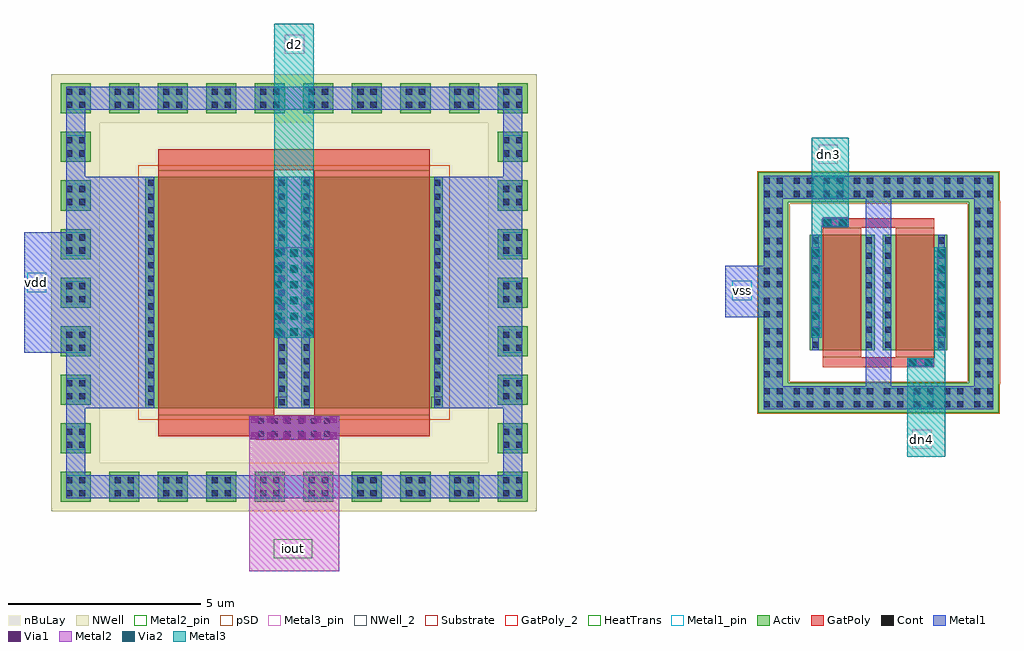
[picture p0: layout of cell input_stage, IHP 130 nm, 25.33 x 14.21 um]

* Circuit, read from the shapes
.subckt input_stage d2 dn3 dn4 iout vdd vss
XM1 vss dn3 dn3 vss sg13_lv_nmos w=3u l=1u
XM2 dn4 dn3 vss vss sg13_lv_nmos w=3u l=1u
XM3 d2 iout vdd vdd sg13_lv_pmos w=6u l=3u m=2
.ends

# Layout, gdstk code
import gdstk
lib = gdstk.Library(unit=1e-6, precision=1e-09)
def R(c, l, rs):  # rectangles x0, y0, x1, y1
    for r in rs: c.add(gdstk.rectangle(r[:2], r[2:], *l))
def A(c, l, x, y, w, h, nx, ny, dx, dy):  # array of equal rectangles
    R(c, l, [(x+i*dx, y+j*dy, x+i*dx+w, y+j*dy+h) for i in range(nx) for j in range(ny)])
Activ = (1, 0)
GatPoly = (5, 0)
GatPoly_2 = (5, 2)
Cont = (6, 0)
Metal1 = (8, 0)
Metal1_pin = (8, 2)
Metal2 = (10, 0)
Metal2_pin = (10, 2)
pSD = (14, 0)
Via1 = (19, 0)
Via2 = (29, 0)
Metal3 = (30, 0)
Metal3_pin = (30, 2)
NWell = (31, 0)
NWell_2 = (31, 2)
nBuLay = (32, 0)
Substrate = (40, 0)
HeatTrans = (51, 0)

nmos = lib.new_cell('nmos')
R(nmos, Activ, [(0,0,0.3,0.3), (0,0,1.68,3), (1.38,0,1.68,0.3)])
R(nmos, GatPoly, [(0.34,-0.18,1.34,3.18)])
R(nmos, GatPoly_2, [(0.34,-0.18,1.34,3.18)])
A(nmos, Cont, 0.07, 0.07, 0.16, 0.16, 1, 7, 0, 0.385)
A(nmos, Cont, 1.45, 0.07, 0.16, 0.16, 1, 7, 0, 0.385)
R(nmos, Cont, [(0.07,2.77,0.23,2.93), (1.45,2.77,1.61,2.93)])
R(nmos, Metal1, [(0.07,0,0.23,3), (1.45,0,1.61,3)])
R(nmos, Metal1_pin, [(0.07,0,0.23,3), (1.45,0,1.61,3)])
R(nmos, HeatTrans, [(0.34,-0.18,1.34,3.18)])
nmos.add(gdstk.Label('nmos', (0.84,1.5), layer=63, texttype=0))
nmos.add(gdstk.Label('nmos', (0.84,1.5), layer=51, texttype=0))

ntap1 = lib.new_cell('ntap1')
R(ntap1, Activ, [(0,0,0.78,0.78)])
R(ntap1, Cont, [(0.14,0.14,0.3,0.3), (0.48,0.14,0.64,0.3), (0.14,0.48,0.3,0.64), (0.48,0.48,0.64,0.64)])
R(ntap1, Metal1, [(0.14,0.09,0.64,0.69)])
R(ntap1, Metal1_pin, [(0.14,0.09,0.64,0.69), (0.14,0.14,0.64,0.64)])
R(ntap1, NWell, [(-0.24,-0.24,1.02,1.02), (0,0,0.78,0.78)])
R(ntap1, NWell_2, [(0,0,0.78,0.78)])
R(ntap1, nBuLay, [(-0.24,-0.24,1.02,1.02)])
ntap1.add(gdstk.Label('well', (0.39,0.01), layer=63, texttype=0))
ntap1.add(gdstk.Label('well', (0.39,0.01), layer=31, texttype=0))

pmos = lib.new_cell('pmos')
R(pmos, Activ, [(0,0,0.3,0.3), (0,0,3.68,6), (3.38,0,3.68,0.3)])
R(pmos, GatPoly, [(0.34,-0.18,3.34,6.18), (0.34,-0.18,3.34,6.18)])
A(pmos, Cont, 0.07, 0.07, 0.16, 0.16, 1, 4, 0, 0.355)
A(pmos, Cont, 3.45, 0.07, 0.16, 0.16, 1, 4, 0, 0.355)
A(pmos, Cont, 0.07, 1.495, 0.16, 0.16, 1, 4, 0, 0.355)
A(pmos, Cont, 3.45, 1.495, 0.16, 0.16, 1, 4, 0, 0.355)
A(pmos, Cont, 0.07, 2.92, 0.16, 0.16, 1, 4, 0, 0.355)
A(pmos, Cont, 3.45, 2.92, 0.16, 0.16, 1, 4, 0, 0.355)
A(pmos, Cont, 0.07, 4.345, 0.16, 0.16, 1, 4, 0, 0.355)
A(pmos, Cont, 3.45, 4.345, 0.16, 0.16, 1, 4, 0, 0.355)
R(pmos, Cont, [(0.07,5.77,0.23,5.93), (3.45,5.77,3.61,5.93)])
R(pmos, Metal1, [(0.07,0,0.23,6), (0.07,0,0.23,6), (3.45,0,3.61,6), (3.45,0,3.61,6)])
R(pmos, pSD, [(-0.18,-0.3,3.86,6.3)])
R(pmos, NWell, [(-0.31,-0.31,3.99,6.31)])
R(pmos, Substrate, [(3.38,0,3.68,0.3)])
R(pmos, HeatTrans, [(0.34,-0.18,3.34,6.18)])
pmos.add(gdstk.Label('pmos', (1.84,3), layer=63, texttype=0))
pmos.add(gdstk.Label('pmos', (1.84,3), layer=51, texttype=0))

ptap1 = lib.new_cell('ptap1')
R(ptap1, Activ, [(0,0,0.78,0.78)])
R(ptap1, Cont, [(0.14,0.14,0.3,0.3), (0.48,0.14,0.64,0.3), (0.14,0.48,0.3,0.64), (0.48,0.48,0.64,0.64)])
R(ptap1, Metal1, [(0.14,0.09,0.64,0.69), (0.14,0.14,0.64,0.64)])
R(ptap1, Metal1_pin, [(0.14,0.14,0.64,0.64)])
R(ptap1, pSD, [(-0.03,-0.03,0.81,0.81)])
R(ptap1, Substrate, [(0,0,0.78,0.78)])
ptap1.add(gdstk.Label('sub!', (0.39,0.01), layer=63, texttype=0))
ptap1.add(gdstk.Label('sub!', (0.39,0.01), layer=40, texttype=0))

via_stack_1 = lib.new_cell('via_stack$1')
R(via_stack_1, Metal1, [(-0.105,-1.17,0.105,1.17)])
R(via_stack_1, Metal2, [(-0.1,-1.17,0.1,1.17)])
A(via_stack_1, Via1, -0.095, -1.12, 0.19, 0.19, 1, 6, 0, 0.41)
A(via_stack_1, Via2, -0.095, -1.12, 0.19, 0.19, 1, 6, 0, 0.41)
R(via_stack_1, Metal3, [(-0.1,-1.17,0.1,1.17)])

via_stack_2 = lib.new_cell('via_stack$2')
R(via_stack_2, GatPoly, [(-0.32,-0.15,0.32,0.15)])
R(via_stack_2, Cont, [(-0.25,-0.08,-0.09,0.08), (0.09,-0.08,0.25,0.08)])
R(via_stack_2, Metal1, [(-0.35,-0.105,0.35,0.105)])
R(via_stack_2, Metal2, [(-0.35,-0.1,0.35,0.1)])
R(via_stack_2, Via1, [(-0.3,-0.095,-0.11,0.095), (0.11,-0.095,0.3,0.095)])
R(via_stack_2, Via2, [(-0.3,-0.095,-0.11,0.095), (0.11,-0.095,0.3,0.095)])
R(via_stack_2, Metal3, [(-0.35,-0.1,0.35,0.1)])

via_stack_3 = lib.new_cell('via_stack$3')
R(via_stack_3, Metal1, [(-0.35,-0.105,0.35,0.105)])
R(via_stack_3, Metal2, [(-0.35,-0.1,0.35,0.1)])
R(via_stack_3, Via1, [(-0.3,-0.095,-0.11,0.095), (0.11,-0.095,0.3,0.095)])
R(via_stack_3, Via2, [(-0.3,-0.095,-0.11,0.095), (0.11,-0.095,0.3,0.095)])
R(via_stack_3, Metal3, [(-0.35,-0.1,0.35,0.1)])

via_stack_4 = lib.new_cell('via_stack$4')
R(via_stack_4, Metal1, [(-0.515,-1.17,0.515,1.17)])
R(via_stack_4, Metal2, [(-0.51,-1.17,0.51,1.17)])
A(via_stack_4, Via1, -0.505, -1.12, 0.19, 0.19, 3, 6, 0.41, 0.41)
A(via_stack_4, Via2, -0.505, -1.12, 0.19, 0.19, 3, 6, 0.41, 0.41)
R(via_stack_4, Metal3, [(-0.51,-1.17,0.51,1.17)])

via_stack_5 = lib.new_cell('via_stack$5')
R(via_stack_5, GatPoly, [(-1,-0.32,1,0.32)])
A(via_stack_5, Cont, -0.93, -0.25, 0.16, 0.16, 6, 2, 0.34, 0.34)
R(via_stack_5, Metal1, [(-1.17,-0.31,1.17,0.31)])
R(via_stack_5, Metal2, [(-1.17,-0.305,1.17,0.305)])
A(via_stack_5, Via1, -1.12, -0.3, 0.19, 0.19, 6, 2, 0.41, 0.41)

input_stage = lib.new_cell('input_stage')
R(input_stage, GatPoly, [(-3.52,-3.725,3.52,-3.18), (13.721,-1.935,16.611,-1.68), (13.72,1.68,16.61,1.935), (-3.52,3.18,3.52,3.725)])
R(input_stage, Metal1, [(-5.92,-5.34,5.92,-4.74), (-5.92,-5.34,-5.42,5.34), (5.42,-5.34,5.92,5.34), (12.185,-3.03,18.145,-2.43), (12.185,-3.03,12.685,3.03), (14.831,-3.03,15.501,3.03), (17.645,-3.03,18.145,3.03), (-5.92,-3,-3.63,3), (-0.41,-3,0.41,3), (3.63,-3,5.92,3), (-7.01,-1.56,-5.42,1.56), (11.185,-0.64,12.685,0.69), (12.185,2.43,18.145,3.03), (-5.92,4.74,5.92,5.34)])
R(input_stage, Metal1_pin, [(11.375,-0.195,11.875,0.305), (-6.93,0.015,-6.43,0.515)])
R(input_stage, Metal2, [(-1.17,-7.235,1.17,-3.195), (15.91,-1.935,16.61,-1.7), (13.72,1.7,14.39,1.955)])
R(input_stage, Metal2_pin, [(-0.525,-6.895,0.475,-6.395)])
R(input_stage, Metal3, [(15.91,-4.255,16.9,-1.705), (16.611,-1.905,16.9,1.17), (-0.51,-1.17,0.51,6.98), (13.43,-1.17,13.69,1.905), (13.43,1.705,14.39,4.02)])
R(input_stage, Metal3_pin, [(16.04,-4.055,16.54,-3.555), (13.61,3.34,14.11,3.84), (-0.24,6.195,0.26,6.695)])
R(input_stage, NWell, [(-5.04,-4.41,5.04,4.41)])
input_stage.add(gdstk.Reference(nmos, (15.271,-1.5)))
input_stage.add(gdstk.Reference(nmos, (13.381,-1.5)))
r = gdstk.Reference(ntap1, (-6.06,-4.17)); r.repetition = gdstk.Repetition(1, 7, v1=(0,0), v2=(0,1.26)); input_stage.add(r)
r = gdstk.Reference(ntap1, (-6.06,-5.43)); r.repetition = gdstk.Repetition(10, 1, v1=(1.26,0), v2=(0,0)); input_stage.add(r)
r = gdstk.Reference(ntap1, (5.28,-4.17)); r.repetition = gdstk.Repetition(1, 7, v1=(0,0), v2=(0,1.26)); input_stage.add(r)
r = gdstk.Reference(ntap1, (-6.06,4.65)); r.repetition = gdstk.Repetition(10, 1, v1=(1.26,0), v2=(0,0)); input_stage.add(r)
input_stage.add(gdstk.Reference(pmos, (0.18,-3)))
input_stage.add(gdstk.Reference(pmos, (-3.86,-3)))
r = gdstk.Reference(ptap1, (12.045,2.34)); r.repetition = gdstk.Repetition(8, 1, v1=(0.78,0), v2=(0,0)); input_stage.add(r)
r = gdstk.Reference(ptap1, (17.507,-2.34)); r.repetition = gdstk.Repetition(1, 6, v1=(0,0), v2=(0,0.78)); input_stage.add(r)
r = gdstk.Reference(ptap1, (12.045,-3.12)); r.repetition = gdstk.Repetition(8, 1, v1=(0.78,0), v2=(0,0)); input_stage.add(r)
r = gdstk.Reference(ptap1, (12.045,-2.34)); r.repetition = gdstk.Repetition(1, 6, v1=(0,0), v2=(0,0.78)); input_stage.add(r)
input_stage.add(gdstk.Reference(via_stack_1, (16.8,0)))
input_stage.add(gdstk.Reference(via_stack_1, (13.53,0)))
input_stage.add(gdstk.Reference(via_stack_2, (14.04,1.805)))
input_stage.add(gdstk.Reference(via_stack_3, (16.26,-1.805)))
input_stage.add(gdstk.Reference(via_stack_4, (0,0)))
input_stage.add(gdstk.Reference(via_stack_5, (0,-3.5)))
input_stage.add(gdstk.Label('vss', (11.625,0.055), layer=8, texttype=25))
input_stage.add(gdstk.Label('vdd', (-6.68,0.265), layer=8, texttype=25))
input_stage.add(gdstk.Label('dn3', (13.86,3.59), layer=30, texttype=25))
input_stage.add(gdstk.Label('dn4', (16.29,-3.805), layer=30, texttype=25))
input_stage.add(gdstk.Label('d2', (0.01,6.445), layer=30, texttype=25))
input_stage.add(gdstk.Label('iout', (-0.025,-6.645), layer=10, texttype=25))

lib.write_gds('input_stage.gds')
